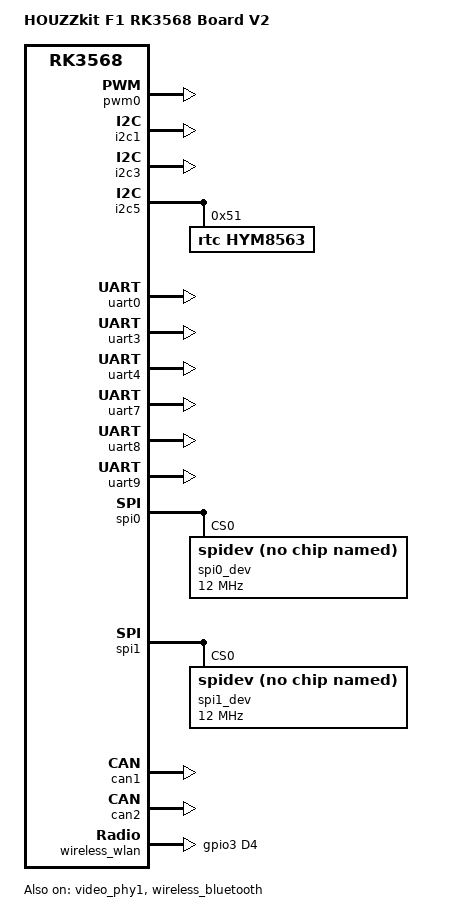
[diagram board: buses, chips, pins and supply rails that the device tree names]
// SPDX-License-Identifier: (GPL-2.0+ OR MIT)
/*
 * Copyright (c) 2020 Rockchip Electronics Co., Ltd.
 *
 */

/dts-v1/;

//rk3568-evb1-ddr4-v10
//#include "rk3568-evb1-ddr4-v10.dtsi"

#include "rk3568-evb-rpdzkj-rk809.dtsi"


#include "rk3568-linux.dtsi"

/*************************camera***********************/
//#include "rp-mipi-camera-gc2093-rk3568.dtsi"
#include "rp-mipi-camera-gc2093-imx334-imx415-rk3568.dtsi"
/***************************************************/


/*************************adc key***********************/
#include "rp-adc-key.dtsi"
/***************************************************/

/*************************gmac***********************/
#include "rp-gmac0-pro-rk3568.dtsi"
#include "rp-gmac1-m1-pro-rk3568.dtsi"
/***************************************************/

/*************************CAN**********************/
#include "rp-can1-m1-rk3568.dtsi"
#include "rp-can2-m0-rk3568.dtsi"
/**************************************************/


/*************************SATA***********************/
#include "rk3568-sata2.dtsi"
/***************************************************/



/***************** SINGLE LCD (LCD + HDMI) ****************/
#include "pro-rk3568-single-lcd-gpio.dtsi"      // gpio config of lcd
/* HDMI */
//#include "rp-lcd-hdmi.dtsi"

/* MIPI DSI0 */
//#include "rp-lcd-mipi0-5-720-1280.dtsi"
//#include "rp-lcd-mipi0-5-720-1280-v2.dtsi"
//#include "rp-lcd-mipi0-5-720-1280-v2-boxTP.dtsi"
//#include "rp-lcd-mipi0-5.5-720-1280.dtsi"
//#include "rp-lcd-mipi0-5.5-720-1280-v2.dtsi"
//#include "rp-lcd-mipi0-5.5-1080-1920.dtsi"
#include "rp-lcd-mipi0-7-1024-600.dtsi"
//#include "rp-lcd-mipi0-7-1200-1920.dtsi"
//#include "rp-lcd-mipi0-8-800-1280.dtsi"
//#include "rp-lcd-mipi0-8-800-1280-v2.dtsi"
//#include "rp-lcd-mipi0-8-800-1280-v3.dtsi"
//#include "rp-lcd-mipi0-8-1200-1920.dtsi"
//#include "rp-lcd-mipi0-10-800-1280.dtsi"
//#include "rp-lcd-mipi0-10-800-1280-v2.dtsi"
//#include "rp-lcd-mipi0-10-800-1280-v3.dtsi"
//#include "rp-lcd-mipi0-10-1920-1200.dtsi"

/* MIPI DSI1 */
//#include "rp-lcd-mipi1-7-1024-600.dtsi"
//#include "rp-lcd-mipi1-7-1200-1920.dtsi"

/* LVDS */
//#include "rp-lcd-lvds-7-1024-600-v2.dtsi"
//#include "rp-lcd-lvds-10-1024-600.dtsi"
//#include "rp-lcd-lvds-10-1280-800.dtsi"

/* EDP */
//#include "rp-lcd-edp-13-1920-1080.dtsi"
//#include "rp-lcd-edp-13.3-15.6-1920-1080.dtsi"


/************************ DUAL LCD *********************/
/* LVDS + MIPI1 */
//#include "rp-lcd-dual-lvds-7-1024-600-mipi1-5-720-1280-v2.dtsi"
//#include "rp-lcd-dual-lvds-10-1024-600-mipi1-7-1200-1920.dtsi"

/* MIPI0 + MIPI1 */
//#include "rp-lcd-dual-mipi0-7-1024-600-mipi1-5-720-1280-v2.dtsi"

/********************** TRIPLE LCD ********************/
/* LVDS + MIPI1 + EDP */
//#include "rp-lcd-triple-lvds-10-1024-600-mipi1-7-1024-600-edp-13-1920-1080.dtsi"



#ifdef RP_TRIPLE_LCD
	#include "pro-rk3568-triple-lcd-gpio.dtsi"      // if use triple lcd, must enable it
#endif

#ifdef RP_DUAL_LCD
      #include "pro-rk3568-dual-lcd-gpio.dtsi"        // if use dual lcd, must enable it
#endif






/{

	model = "HOUZZkit F1 RK3568 Board V2";
	compatible = "rpdzkj,pro-rk3568-v10", "rockchip,rk3568";
	
        
        rp_power{
                status = "okay";
                compatible = "rp_power";
                rp_not_deep_sleep = <1>;
                
								pinctrl-names = "default";
								pinctrl-0 = <&vcc5v0_host_en>;
								pinctrl-1 = <&vcc5v0_otg_en>;

//#define GPIO_FUNCTION_OUTPUT 0
//#define GPIO_FUNCTION_INPUT 1
//#define GPIO_FUNCTION_IRQ 2
//#define GPIO_FUNCTION_FLASH 3
//#define GPIO_FUNCTION_OUTPUT_CTRL 4


                led {	//system led
                        gpio_num = <&gpio0 RK_PD6 GPIO_ACTIVE_HIGH>;
                        gpio_function = <4>;
                };
                fan {	//fan
                        gpio_num = <&gpio3 RK_PB6 GPIO_ACTIVE_HIGH>;
                        gpio_function = <4>;
                };
		usb_pwr {       //usb  power
                        gpio_num = <&gpio0 RK_PA6 GPIO_ACTIVE_HIGH>;
                        gpio_function = <4>;
                };
                hub_rst {	//usb hub
                        gpio_num = <&gpio0 RK_PB0 GPIO_ACTIVE_HIGH>;
                        gpio_function = <4>;
                };
                otg_mode {       //OTG SWITCH
                        gpio_num = <&gpio1 RK_PA4 GPIO_ACTIVE_LOW>;
                        gpio_function = <0>;
                };
                otg_power {       //usb otg power
                        gpio_num = <&gpio0 RK_PA5 GPIO_ACTIVE_HIGH>;
                        gpio_function = <4>;
                };
                spk_en {       //spk enable
                        gpio_num = <&gpio1 RK_PB1 GPIO_ACTIVE_HIGH>;
                        gpio_function = <4>;
                };
                spk_mute {       //spk mute
                        gpio_num = <&gpio1 RK_PB2 GPIO_ACTIVE_LOW>;
                        gpio_function = <4>;
                };
        };

        rp_gpio{
                status = "okay";
                compatible = "rp_gpio";

                gpio3b5 {       //pcie power
                        gpio_num = <&gpio3 RK_PB5 GPIO_ACTIVE_HIGH>;
                        gpio_function = <0>;
                };
                gpio3a7 {       //pcie clock
                        gpio_num = <&gpio3 RK_PA7 GPIO_ACTIVE_HIGH>;
                        gpio_function = <0>;
                };
        };

};


&pmu_io_domains {
        status = "okay";
        pmuio2-supply = <&vcc3v3_pmu>;
        vccio1-supply = <&vccio_acodec>;
        vccio3-supply = <&vccio_sd>;
        vccio4-supply = <&vcc_1v8>;
        vccio5-supply = <&vcc_3v3>;
        vccio6-supply = <&vcc_1v8>;
        vccio7-supply = <&vcc_3v3>;
};



&pwm0 {
        status = "okay";
        pinctrl-names = "active";
};


&i2c1 {
	status = "okay";
};


&i2c3 {
	status = "okay";
};


&i2c5 {
	status = "okay";
        rtc@51 {
                status = "okay";
                compatible = "rtc,hym8563";
                reg = <0x51>;
        };
};


&uart0 {
	status = "okay";
};

&uart3 {
	status = "okay";
	pinctrl-names = "default";
	pinctrl-0 = <&uart3m1_xfer>;
};

&uart4 {
	status = "okay";
	pinctrl-names = "default";
	pinctrl-0 = <&uart4m1_xfer>;
};

&uart7 {
	status = "okay";
	pinctrl-names = "default";
	pinctrl-0 = <&uart7m1_xfer>;
};

&uart8 {
	status = "okay";
	pinctrl-names = "default";
	pinctrl-0 = <&uart8m0_xfer &uart8m0_ctsn>;
};

&uart9 {
	status = "okay";
	pinctrl-names = "default";
	pinctrl-0 = <&uart9m1_xfer>;
};


&spi0 {
	status = "okay";

    spi0_dev@0 {
        compatible = "rockchip,spidev";
        reg = <0>;
        spi-max-frequency = <12000000>;
        spi-lsb-first;
    };
};

&spi1 {
	status = "okay";
	pinctrl-names = "default";
	pinctrl-0 = <&spi1m1_cs0 &spi1m1_pins>;

    spi1_dev@0 {
        compatible = "rockchip,spidev";
        reg = <0>;
        spi-max-frequency = <12000000>;
        spi-lsb-first;
    };
};



&can1 {
       assigned-clocks = <&cru CLK_CAN1>;
       assigned-clock-rates = <150000000>;
       pinctrl-names = "default";
       pinctrl-0 = <&can1m1_pins>;
       status = "okay";
};


&can2 {
        assigned-clocks = <&cru CLK_CAN2>;
        assigned-clock-rates = <150000000>;
        pinctrl-names = "default";
        pinctrl-0 = <&can2m0_pins>;
        status = "okay";
};

&video_phy1 {
    status = "okay";
};

/******** must be close,if not system no run ******/
&dmc {
       status = "disabled";
};

&dfi {
       status = "disabled";
};
/*********************************************/


&pwm7 {
    /****** disable for gpio used to be spi0_cs0 */
    status = "disabled";
};


/**
 * when single mipi1 or edp ports used, pwm need the pwm5,
 * and if mutiple lcd used, we just reference the backlight5.
 */ 
#if (defined(RP_MIPI1_USED) || defined(RP_EDP_USED)) && defined(RP_SINGLE_LCD)
&backlight4 {
    pwms = <&pwm5 0 25000 0>;
};
#endif


/*************************wifi bt***********************/
&wireless_wlan {
	pinctrl-names = "default";
	pinctrl-0 = <&wifi_host_wake_irq>;
	WIFI,host_wake_irq = <&gpio3 RK_PD4 GPIO_ACTIVE_HIGH>;
};

&wireless_bluetooth {
	BT,reset_gpio    = <&gpio4 RK_PC4 GPIO_ACTIVE_HIGH>;
	BT,wake_gpio     = <&gpio0 RK_PD5 GPIO_ACTIVE_HIGH>;
	BT,wake_host_irq = <&gpio0 RK_PD4 GPIO_ACTIVE_HIGH>;
	status = "okay";
};

/******************************************************/


&rk_headset {
	pinctrl-names = "default";
	pinctrl-0 = <&hp_det>;
	headset_gpio = <&gpio1 RK_PB0 GPIO_ACTIVE_HIGH>;
};


&pinctrl {
	headphone {
		hp_det: hp-det {
			rockchip,pins = <1 RK_PB0 RK_FUNC_GPIO &pcfg_pull_down>;
		};
	};
	
	
	usb {
		vcc5v0_host_en: vcc5v0-host-en {
			rockchip,pins = <0 RK_PA6 RK_FUNC_GPIO &pcfg_pull_none>;
		};

		vcc5v0_otg_en: vcc5v0-otg-en {
			rockchip,pins = <0 RK_PA5 RK_FUNC_GPIO &pcfg_pull_none>;
		};
	};
	
	
	wireless-wlan {
		wifi_host_wake_irq: wifi-host-wake-irq {
			rockchip,pins = <3 RK_PD4 RK_FUNC_GPIO &pcfg_pull_down>;
		};
	};

	wireless-bluetooth {
		uart8_gpios: uart8-gpios {
			rockchip,pins = <2 RK_PB1 RK_FUNC_GPIO &pcfg_pull_none>;
		};
	};
	
};
